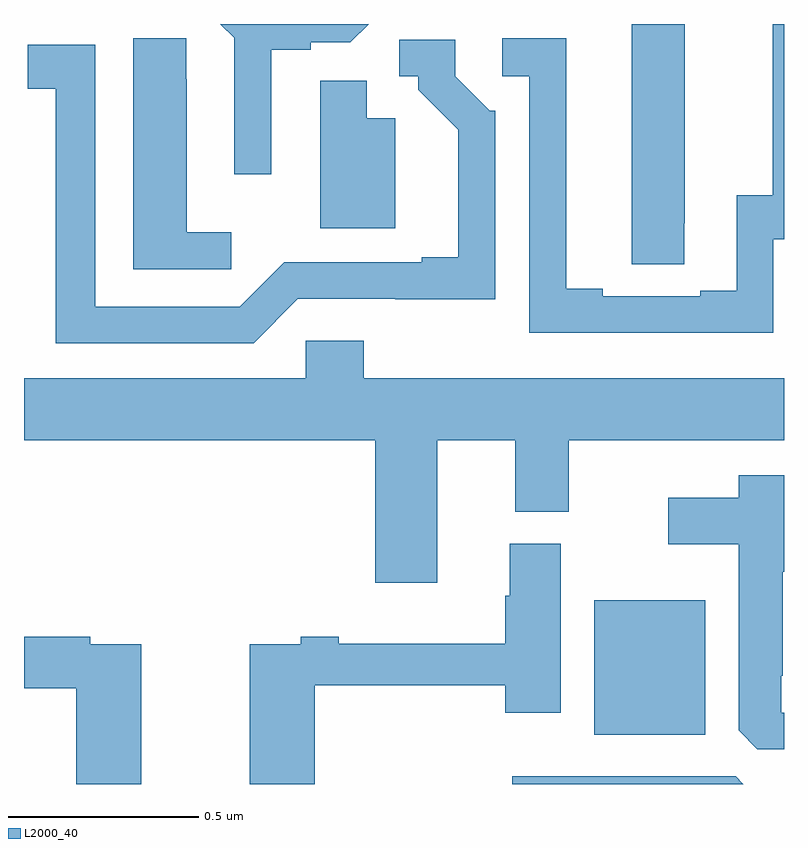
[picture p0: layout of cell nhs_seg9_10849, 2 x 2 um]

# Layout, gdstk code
import gdstk
lib = gdstk.Library(unit=1e-6, precision=1e-09)
def R(c, l, rs):  # rectangles x0, y0, x1, y1
    for r in rs: c.add(gdstk.rectangle(r[:2], r[2:], *l))
def P(c, l, *ps):  # polygons
    for p in ps: c.add(gdstk.Polygon(p, *l))
L2000_40 = (2000, 40)

nhs_seg9_10849 = lib.new_cell('nhs_seg9_10849')
R(nhs_seg9_10849, L2000_40, [(249.5,1211.63,249.793,1211.983)])
P(nhs_seg9_10849, L2000_40, [(249.738,1212.976),(249.739,1212.976),(249.739,1213.5),(249.599,1213.5),(249.599,1212.868),(249.738,1212.868)],
  [(248.65,1213.432),(248.754,1213.432),(248.754,1213.452),(248.859,1213.452),(248.907,1213.5),(248.517,1213.5),(248.553,1213.464),(248.553,1213.104),(248.65,1213.104)],
  [(249.972,1212.933),(250,1212.933),(250,1213.5),(249.97,1213.5),(249.97,1213.049),(249.875,1213.049),(249.875,1212.798),(249.779,1212.798),(249.779,1212.783),(249.523,1212.783),(249.523,1212.803),(249.427,1212.803),(249.427,1213.463),(249.258,1213.463),(249.258,1213.362),(249.33,1213.362),(249.33,1212.687),(249.972,1212.687)],
  [(248.545,1212.952),(248.428,1212.952),(248.428,1213.355),(248.427,1213.355),(248.427,1213.463),(248.288,1213.463),(248.288,1212.855),(248.545,1212.855)],
  [(248.721,1212.777),(248.977,1212.777),(248.977,1212.776),(249.24,1212.776),(249.24,1213.272),(249.225,1213.272),(249.135,1213.362),(249.135,1213.458),(248.988,1213.458),(248.988,1213.362),(249.038,1213.362),(249.038,1213.327),(249.143,1213.222),(249.143,1212.886),(249.047,1212.886),(249.047,1212.873),(248.685,1212.873),(248.568,1212.756),(248.188,1212.756),(248.188,1213.446),(248.01,1213.446),(248.01,1213.33),(248.084,1213.33),(248.084,1212.66),(248.604,1212.66)],
  [(248.977,1213.252),(248.902,1213.252),(248.902,1213.351),(248.78,1213.351),(248.78,1212.962),(248.977,1212.962)],
  [(249.088,1212.404),(249.293,1212.404),(249.293,1212.217),(249.433,1212.217),(249.433,1212.404),(250,1212.404),(250,1212.568),(248.894,1212.568),(248.894,1212.666),(248.742,1212.666),(248.742,1212.568),(248,1212.568),(248,1212.404),(248.924,1212.404),(248.924,1212.03),(249.088,1212.03)],
  [(250,1211.688),(249.993,1211.688),(249.993,1211.785),(249.997,1211.785),(249.997,1212.059),(250,1212.059),(250,1212.313),(249.881,1212.313),(249.881,1212.253),(249.696,1212.253),(249.696,1212.131),(249.881,1212.131),(249.881,1211.641),(249.93,1211.592),(250,1211.592)],
  [(248.765,1211.76),(249.266,1211.76),(249.266,1211.688),(249.412,1211.688),(249.412,1212.132),(249.278,1212.132),(249.278,1211.996),(249.266,1211.996),(249.266,1211.869),(248.828,1211.869),(248.828,1211.888),(248.728,1211.888),(248.728,1211.868),(248.594,1211.868),(248.594,1211.5),(248.765,1211.5)],
  [(248.308,1211.868),(248.174,1211.868),(248.174,1211.888),(248,1211.888),(248,1211.752),(248.138,1211.752),(248.138,1211.5),(248.308,1211.5)],
  [(249.873,1211.52),(249.285,1211.52),(249.285,1211.5),(249.893,1211.5)])

lib.write_gds('nhs_seg9_10849.gds')
